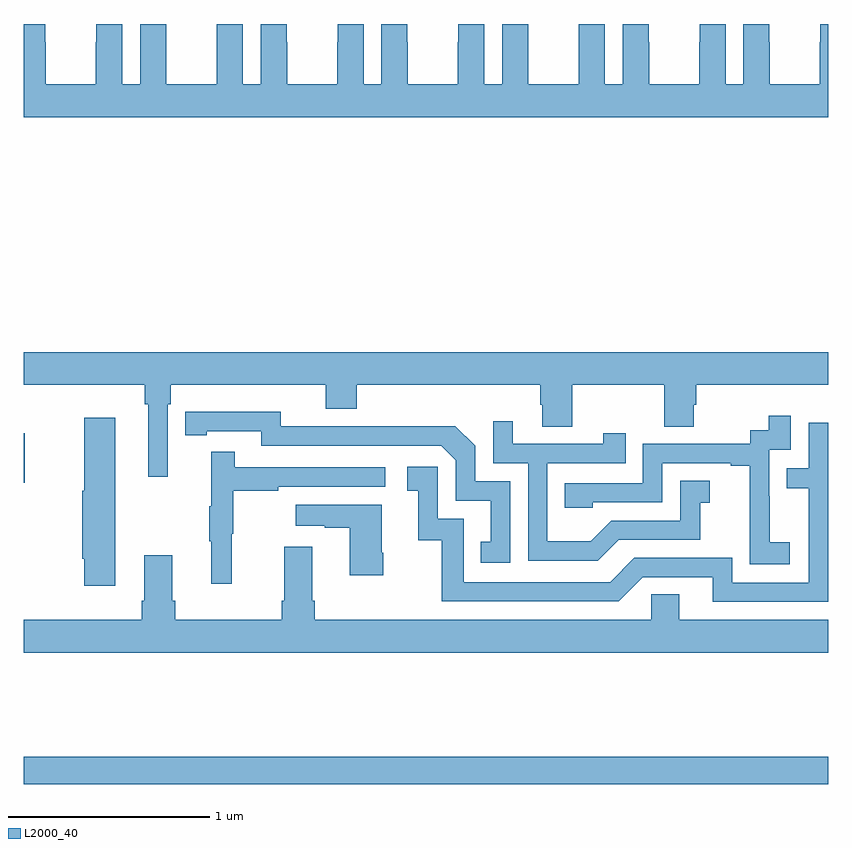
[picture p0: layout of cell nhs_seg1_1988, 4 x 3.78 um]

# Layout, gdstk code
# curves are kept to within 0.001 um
import gdstk
lib = gdstk.Library(unit=1e-6, precision=1e-09)
def R(c, l, rs):  # rectangles x0, y0, x1, y1
    for r in rs: c.add(gdstk.rectangle(r[:2], r[2:], *l))
def P(c, l, *ps):  # polygons
    for p in ps: c.add(gdstk.Polygon(p, *l))
L2000_40 = (2000, 40)

nhs_seg1_1988 = lib.new_cell('nhs_seg1_1988')
R(nhs_seg1_1988, L2000_40, [(219,544.42,223,544.556), (219,545.918,219.004,546.163)])
P(nhs_seg1_1988, L2000_40, [(223,548.199),(222.96,548.199),(222.96,548.108),(222.959,548.108),(222.959,547.9),(222.709,547.9),(222.709,548.108),(222.708,548.108),(222.708,548.199),(222.578,548.199),(222.578,547.9),(222.49,547.9),(222.49,548.199),(222.36,548.199),(222.36,548.108),(222.359,548.108),(222.359,547.9),(222.109,547.9),(222.109,548.108),(222.108,548.108),(222.108,548.199),(221.978,548.199),(221.978,547.9),(221.89,547.9),(221.89,548.199),(221.76,548.199),(221.76,548.108),(221.759,548.108),(221.759,547.9),(221.509,547.9),(221.509,548.108),(221.508,548.108),(221.508,548.199),(221.378,548.199),(221.378,547.9),(221.29,547.9),(221.29,548.199),(221.16,548.199),(221.16,548.108),(221.159,548.108),(221.159,547.9),(220.909,547.9),(220.909,548.108),(220.908,548.108),(220.908,548.199),(220.778,548.199),(220.778,547.9),(220.69,547.9),(220.69,548.199),(220.56,548.199),(220.56,548.108),(220.559,548.108),(220.559,547.9),(220.309,547.9),(220.309,548.108),(220.308,548.108),(220.308,548.199),(220.178,548.199),(220.178,547.9),(220.09,547.9),(220.09,548.199),(219.96,548.199),(219.96,548.108),(219.959,548.108),(219.959,547.9),(219.709,547.9),(219.709,548.108),(219.708,548.108),(219.708,548.199),(219.578,548.199),(219.578,547.9),(219.49,547.9),(219.49,548.199),(219.36,548.199),(219.36,548.108),(219.359,548.108),(219.359,547.9),(219.109,547.9),(219.109,548.108),(219.108,548.108),(219.108,548.199),(219,548.199),(219,547.736),(223,547.736)],
  [(219.717,546.308),(219.731,546.308),(219.731,546.404),(220.502,546.404),(220.502,546.287),(220.655,546.287),(220.655,546.404),(221.567,546.404),(221.567,546.306),(221.579,546.306),(221.579,546.196),(221.727,546.196),(221.727,546.404),(222.184,546.404),(222.184,546.196),(222.331,546.196),(222.331,546.306),(222.344,546.306),(222.344,546.404),(223,546.404),(223,546.568),(219,546.568),(219,546.404),(219.601,546.404),(219.601,546.308),(219.62,546.308),(219.62,545.949),(219.717,545.949)],
  [(221.418,545.925),(221.244,545.925),(221.244,546.102),(221.146,546.2),(220.738,546.2),(220.738,546.198),(220.278,546.198),(220.278,546.271),(219.802,546.27),(219.802,546.154),(219.91,546.154),(219.91,546.174),(220.182,546.174),(220.182,546.102),(221.076,546.102),(221.148,546.03),(221.148,545.829),(221.321,545.829),(221.321,545.625),(221.272,545.625),(221.272,545.52),(221.418,545.52)],
  [(222.808,545.623),(222.71,545.623),(222.71,545.852),(222.708,545.852),(222.708,546.081),(222.813,546.081),(222.813,546.25),(222.705,546.25),(222.705,546.18),(222.612,546.18),(222.612,546.111),(222.078,546.111),(222.078,545.916),(221.689,545.916),(221.689,545.793),(221.829,545.793),(221.829,545.82),(222.174,545.82),(222.174,546.015),(222.515,546.015),(222.515,546.003),(222.611,546.003),(222.611,545.719),(222.61,545.719),(222.61,545.513),(222.808,545.513)],
  [(219.454,546.241),(219.301,546.241),(219.301,545.877),(219.29,545.877),(219.29,545.541),(219.301,545.541),(219.301,545.406),(219.454,545.406)],
  [(221.959,545.634),(222.363,545.634),(222.363,545.819),(222.412,545.819),(222.412,545.929),(222.264,545.929),(222.264,545.73),(221.922,545.73),(221.818,545.626),(221.604,545.626),(221.604,546.015),(221.993,546.015),(221.993,546.163),(221.882,546.163),(221.882,546.111),(221.431,546.111),(221.431,546.223),(221.334,546.223),(221.334,546.015),(221.508,546.015),(221.508,545.529),(221.854,545.529)],
  [(222.999,546.12),(223,546.216),(222.903,546.216),(222.903,545.991),(222.793,545.991),(222.793,545.89),(222.903,545.89),(222.903,545.421),(222.522,545.421),(222.522,545.544),(222.036,545.544),(221.916,545.424),(221.187,545.424),(221.187,545.739),(221.058,545.739),(221.058,545.998),(220.908,545.998),(220.908,545.877),(220.961,545.877),(220.961,545.631),(221.079,545.631),(221.079,545.328),(221.958,545.328),(222.078,545.448),(222.425,545.448),(222.425,545.325),(222.999,545.325)],
  [(220.034,545.664),(220.042,545.664),(220.042,545.878),(220.265,545.878),(220.265,545.898),(220.798,545.898),(220.798,545.994),(220.049,545.994),(220.049,546.073),(219.932,546.073),(219.932,545.801),(219.921,545.801),(219.921,545.627),(219.932,545.627),(219.932,545.415),(220.034,545.415)],
  [(220.788,545.569),(220.78,545.569),(220.78,545.809),(220.353,545.809),(220.353,545.705),(220.496,545.705),(220.496,545.695),(220.622,545.695),(220.622,545.457),(220.788,545.457)],
  [(223,545.236),(222.259,545.236),(222.259,545.363),(222.12,545.363),(222.12,545.236),(220.448,545.236),(220.448,545.332),(220.435,545.332),(220.435,545.599),(220.295,545.599),(220.295,545.332),(220.283,545.332),(220.283,545.236),(219.752,545.236),(219.752,545.332),(219.739,545.332),(219.739,545.557),(219.599,545.557),(219.599,545.332),(219.587,545.332),(219.587,545.236),(219,545.236),(219,545.072),(223,545.072)])

lib.write_gds('nhs_seg1_1988.gds')
